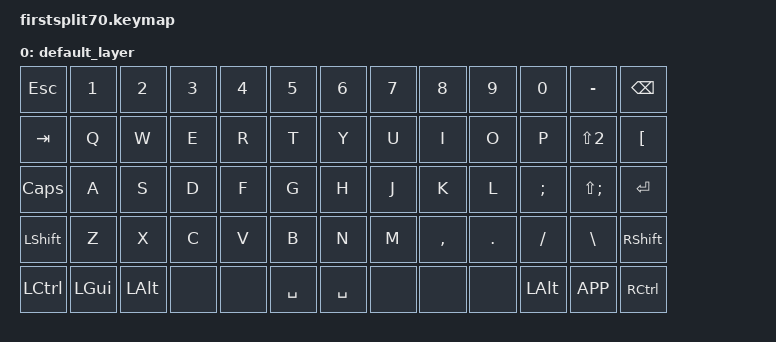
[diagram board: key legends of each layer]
#include <behaviors.dtsi>
#include <dt-bindings/zmk/keys.h>

/ {
	keymap {
		compatible = "zmk,keymap";

		default_layer {
			// 5行7列 × 2 = 70キー
			bindings = <
				// 行0: ESC 1 2 3 4 5 | GAP | 6 7 8 9 0 - BS
				&kp ESC    &kp N1     &kp N2     &kp N3     &kp N4     &kp N5              &kp N6     &kp N7     &kp N8     &kp N9     &kp N0     &kp MINUS  &kp BSPC

				// 行1: TAB Q W E R T | GAP | Y U I O P @ [
				&kp TAB    &kp Q      &kp W      &kp E      &kp R      &kp T               &kp Y      &kp U      &kp I      &kp O      &kp P      &kp LS(N2) &kp LBKT

				// 行2: CAPS A S D F G | GAP | H J K L ; : ENTER
				&kp CAPS   &kp A      &kp S      &kp D      &kp F      &kp G               &kp H      &kp J      &kp K      &kp L      &kp SEMI   &kp LS(SEMI) &kp RET

				// 行3: LSHIFT Z X C V B | GAP | N M , . / \ RSHIFT
				&kp LSHIFT &kp Z      &kp X      &kp C      &kp V      &kp B               &kp N      &kp M      &kp COMMA  &kp DOT    &kp FSLH   &kp BSLH   &kp RSHIFT

				// 行4: LCTL LGUI LALT (empty)(empty) SPACE | GAP | SPACE (empty)(empty)(empty) LALT APP RCTL
				&kp LCTRL  &kp LGUI   &kp LALT   &none      &none      &kp SPACE           &kp SPACE  &none      &none      &none      &kp LALT   &kp K_APP  &kp RCTRL
			>;
		};
	};
};
